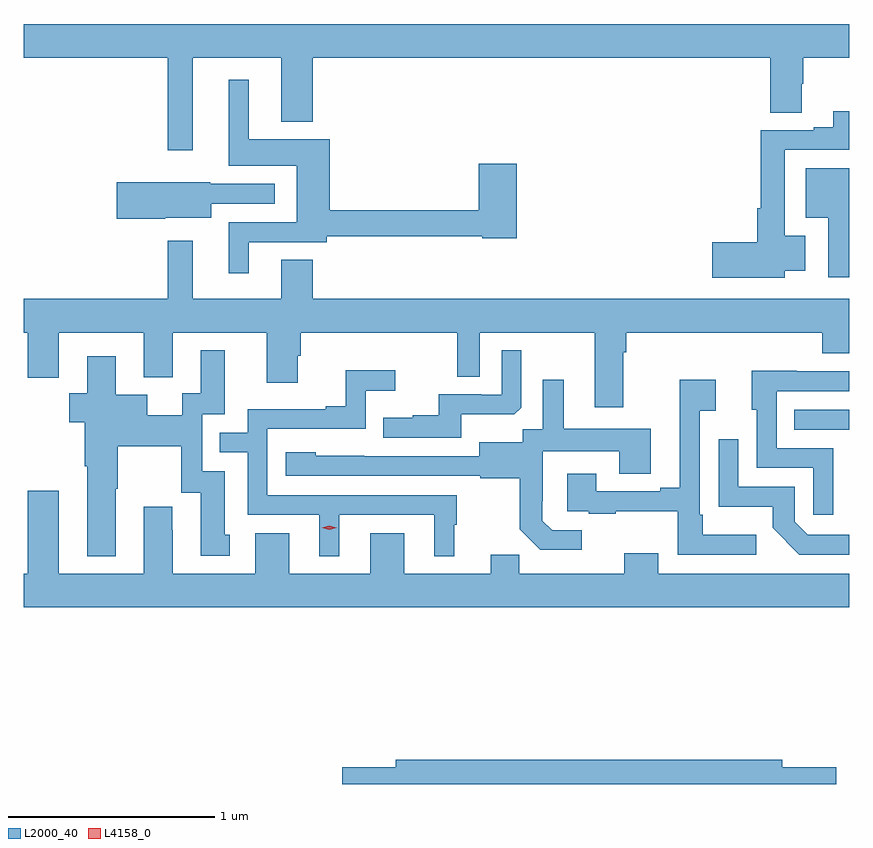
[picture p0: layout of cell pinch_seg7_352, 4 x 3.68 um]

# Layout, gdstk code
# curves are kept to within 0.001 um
import gdstk
lib = gdstk.Library(unit=1e-6, precision=1e-09)
def R(c, l, rs):  # rectangles x0, y0, x1, y1
    for r in rs: c.add(gdstk.rectangle(r[:2], r[2:], *l))
def P(c, l, *ps):  # polygons
    for p in ps: c.add(gdstk.Polygon(p, *l))
L2000_40 = (2000, 40)
L4158_0 = (4158, 0)

pinch_seg7_352 = lib.new_cell('pinch_seg7_352')
R(pinch_seg7_352, L2000_40, [(463.897,1024.122,464.163,1024.218)])
P(pinch_seg7_352, L2000_40, [(460.981,1025.924),(461.411,1025.924),(461.411,1025.615),(461.564,1025.615),(461.564,1025.924),(463.781,1025.924),(463.781,1025.659),(463.933,1025.659),(463.933,1025.798),(463.941,1025.798),(463.941,1025.924),(464.163,1025.924),(464.163,1026.088),(460.163,1026.088),(460.163,1025.924),(460.86,1025.924),(460.86,1025.475),(460.981,1025.475)],
  [(461.254,1025.031),(461.632,1025.031),(461.632,1025.058),(462.384,1025.058),(462.384,1025.05),(462.551,1025.05),(462.551,1025.41),(462.368,1025.41),(462.368,1025.186),(461.645,1025.186),(461.645,1025.53),(461.254,1025.53),(461.254,1025.818),(461.156,1025.818),(461.156,1025.402),(461.486,1025.402),(461.486,1025.127),(461.156,1025.127),(461.156,1024.881),(461.254,1024.881)],
  [(463.852,1024.892),(463.951,1024.892),(463.951,1025.062),(463.851,1025.062),(463.851,1025.478),(464.163,1025.478),(464.163,1025.665),(464.087,1025.665),(464.087,1025.587),(463.991,1025.587),(463.991,1025.574),(463.735,1025.574),(463.735,1025.196),(463.718,1025.196),(463.718,1025.03),(463.5,1025.03),(463.5,1024.859),(463.852,1024.859)],
  [(464.163,1025.389),(463.952,1025.389),(463.952,1025.15),(464.063,1025.15),(464.063,1024.86),(464.163,1024.86)],
  [(460.848,1025.15),(461.071,1025.15),(461.071,1025.217),(461.38,1025.217),(461.38,1025.313),(461.067,1025.313),(461.067,1025.321),(460.614,1025.321),(460.614,1025.143),(460.848,1025.143)],
  [(463.069,1024.496),(463.082,1024.496),(463.082,1024.592),(464.033,1024.592),(464.033,1024.493),(464.163,1024.493),(464.163,1024.756),(461.564,1024.756),(461.564,1024.946),(461.411,1024.946),(461.411,1024.756),(460.981,1024.756),(460.981,1025.038),(460.86,1025.038),(460.86,1024.756),(460.163,1024.756),(460.163,1024.592),(460.181,1024.592),(460.181,1024.374),(460.333,1024.374),(460.333,1024.592),(460.745,1024.592),(460.745,1024.376),(460.885,1024.376),(460.885,1024.592),(461.339,1024.592),(461.339,1024.35),(461.491,1024.35),(461.491,1024.479),(461.504,1024.479),(461.504,1024.592),(462.264,1024.592),(462.264,1024.378),(462.372,1024.378),(462.372,1024.592),(462.929,1024.592),(462.929,1024.23),(463.069,1024.23)],
  [(460.609,1023.835),(460.617,1023.835),(460.617,1024.04),(460.925,1024.04),(460.925,1023.816),(461.021,1023.816),(461.021,1023.51),(461.161,1023.51),(461.161,1023.612),(461.137,1023.612),(461.137,1023.921),(461.028,1023.921),(461.028,1024.197),(461.137,1024.197),(461.137,1024.507),(461.021,1024.507),(461.021,1024.298),(460.931,1024.298),(460.931,1024.192),(460.762,1024.192),(460.762,1024.291),(460.609,1024.291),(460.609,1024.477),(460.469,1024.477),(460.469,1024.299),(460.382,1024.299),(460.382,1024.157),(460.457,1024.157),(460.457,1023.944),(460.469,1023.944),(460.469,1023.509),(460.609,1023.509)],
  [(462.283,1024.196),(462.541,1024.196),(462.573,1024.227),(462.573,1024.507),(462.48,1024.507),(462.48,1024.29),(462.38,1024.29),(462.38,1024.293),(462.173,1024.293),(462.173,1024.192),(462.049,1024.192),(462.049,1024.18),(461.905,1024.18),(461.905,1024.083),(462.283,1024.083)],
  [(461.692,1023.708),(462.152,1023.708),(462.152,1023.509),(462.25,1023.509),(462.25,1023.66),(462.262,1023.66),(462.262,1023.804),(461.343,1023.804),(461.343,1024.125),(461.82,1024.125),(461.82,1024.31),(461.962,1024.31),(461.962,1024.409),(461.722,1024.409),(461.722,1024.234),(461.627,1024.234),(461.627,1024.221),(461.247,1024.221),(461.247,1024.107),(461.113,1024.107),(461.113,1024.011),(461.247,1024.011),(461.247,1023.708),(461.594,1023.708),(461.594,1023.509),(461.692,1023.509)],
  [(464.085,1024.032),(463.812,1024.032),(463.812,1024.308),(464.163,1024.308),(464.163,1024.404),(463.909,1024.404),(463.909,1024.406),(463.691,1024.406),(463.691,1024.218),(463.716,1024.218),(463.716,1023.936),(463.989,1023.936),(463.989,1023.708),(464.085,1023.708)],
  [(463.714,1023.613),(463.453,1023.613),(463.453,1023.709),(463.44,1023.709),(463.44,1024.214),(463.516,1024.214),(463.516,1024.363),(463.343,1024.363),(463.343,1023.841),(463.247,1023.841),(463.247,1023.822),(462.937,1023.822),(462.937,1023.907),(462.797,1023.907),(462.797,1023.726),(462.901,1023.726),(462.901,1023.714),(463.033,1023.714),(463.033,1023.725),(463.332,1023.725),(463.332,1023.516),(463.714,1023.516)],
  [(462.868,1023.633),(462.723,1023.633),(462.676,1023.68),(462.676,1023.775),(462.678,1023.775),(462.678,1024.016),(463.049,1024.016),(463.049,1023.907),(463.201,1023.907),(463.201,1024.126),(462.781,1024.126),(462.781,1024.363),(462.677,1024.363),(462.677,1024.124),(462.582,1024.124),(462.582,1024.06),(462.371,1024.06),(462.371,1023.993),(461.577,1023.994),(461.577,1024.012),(461.433,1024.012),(461.433,1023.897),(462.375,1023.897),(462.375,1023.885),(462.567,1023.885),(462.567,1023.639),(462.667,1023.539),(462.868,1023.539)],
  [(464.163,1023.612),(463.962,1023.612),(463.899,1023.675),(463.899,1023.846),(463.626,1023.846),(463.626,1024.075),(463.53,1024.075),(463.53,1023.749),(463.792,1023.749),(463.792,1023.647),(463.922,1023.516),(464.163,1023.516)],
  [(464.163,1023.424),(463.237,1023.424),(463.237,1023.523),(463.073,1023.523),(463.073,1023.424),(462.563,1023.424),(462.563,1023.515),(462.425,1023.515),(462.425,1023.424),(462.007,1023.424),(462.007,1023.619),(461.843,1023.619),(461.843,1023.424),(461.449,1023.424),(461.449,1023.619),(461.285,1023.619),(461.285,1023.424),(460.885,1023.424),(460.885,1023.635),(460.882,1023.635),(460.882,1023.748),(460.745,1023.748),(460.745,1023.424),(460.333,1023.424),(460.333,1023.826),(460.181,1023.826),(460.181,1023.424),(460.163,1023.424),(460.163,1023.26),(464.163,1023.26)],
  [(464.101,1022.486),(463.84,1022.486),(463.84,1022.522),(461.966,1022.522),(461.966,1022.486),(461.706,1022.486),(461.706,1022.404),(464.101,1022.404)])
P(pinch_seg7_352, L4158_0, [(461.643,1023.636),(461.607,1023.645),(461.607,1023.646),(461.607,1023.646),(461.643,1023.656),(461.679,1023.646),(461.679,1023.646),(461.679,1023.645)])

lib.write_gds('pinch_seg7_352.gds')
